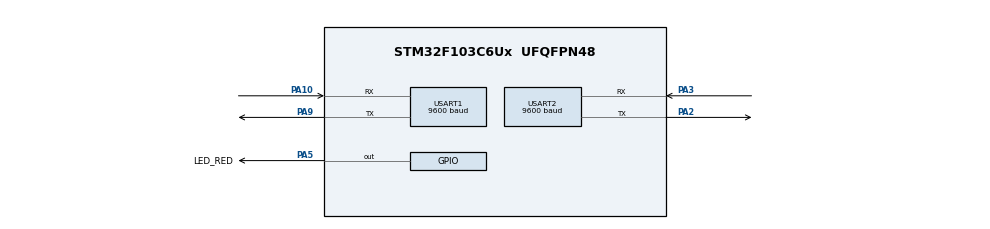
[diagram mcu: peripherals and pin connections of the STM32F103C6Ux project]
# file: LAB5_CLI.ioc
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Mcu.Family=STM32F1
Mcu.Name=STM32F103C6Ux
Mcu.Package=UFQFPN48
NVIC.PriorityGroup=NVIC_PRIORITYGROUP_4
NVIC.USART1_IRQn=true\:0\:0\:false\:false\:true\:true\:true
NVIC.USART2_IRQn=true\:0\:0\:false\:false\:true\:true\:true
PA10.Mode=Asynchronous
PA10.Signal=USART1_RX
PA2.Mode=Asynchronous
PA2.Signal=USART2_TX
PA3.Mode=Asynchronous
PA3.Signal=USART2_RX
PA5.GPIO_Label=LED_RED
PA5.Signal=GPIO_Output
PA9.Mode=Asynchronous
PA9.Signal=USART1_TX
ProjectManager.HeapSize=0x200
ProjectManager.StackSize=0x400
ProjectManager.TargetToolchain=STM32CubeIDE
RCC.APB1Freq_Value=8000000
RCC.APB2Freq_Value=8000000
TIM2.Period=9
TIM2.Prescaler=7999
USART1.BaudRate=9600
USART1.VirtualMode=VM_ASYNC
USART2.BaudRate=9600
USART2.VirtualMode=VM_ASYNC
VP_SYS_VS_ND.Mode=No_Debug
VP_TIM2_VS_ClockSourceINT.Mode=Internal
board=custom

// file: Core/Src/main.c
/* USER CODE BEGIN Header */
/**
  ******************************************************************************
  * @file           : main.c
  * @brief          : Main program body
  ******************************************************************************
  * @attention
  *
  * <h2><center>&copy; Copyright (c) 2026 STMicroelectronics.
  * All rights reserved.</center></h2>
  *
  * This software component is licensed by ST under BSD 3-Clause license,
  * the "License"; You may not use this file except in compliance with the
  * License. You may obtain a copy of the License at:
  *                        opensource.org/licenses/BSD-3-Clause
  *
  ******************************************************************************
  */
/* USER CODE END Header */
#include "main.h"

/* USER CODE BEGIN Includes */
#include <stdio.h>
#include <string.h>
/* USER CODE END Includes */

TIM_HandleTypeDef htim2;

UART_HandleTypeDef huart1;
UART_HandleTypeDef huart2;

/* USER CODE BEGIN PV */
uint8_t temp = 0;
/* USER CODE END PV */

void SystemClock_Config(void);
static void MX_GPIO_Init(void);
static void MX_USART2_UART_Init(void);
static void MX_USART1_UART_Init(void);
static void MX_TIM2_Init(void);

int main(void)
{

  /* MCU Configuration--------------------------------------------------------*/

  /* Reset of all peripherals, Initializes the Flash interface and the Systick. */
  HAL_Init();

  /* Configure the system clock */
  SystemClock_Config();

  /* Initialize all configured peripherals */
  MX_GPIO_Init();
  MX_USART2_UART_Init();
  MX_USART1_UART_Init();
  MX_TIM2_Init();
  /* USER CODE BEGIN 2 */
  HAL_UART_Receive_IT(&huart2, &temp, 1);
  Communication_Init();
  Communication_StartReceive();
  CLI_Init();
  /* USER CODE END 2 */

  /* Infinite loop */
  while (1)
  {

    /* USER CODE BEGIN 3 */
	  CLI_Process();
	  Communication_Process();
  }
  /* USER CODE END 3 */
}

void SystemClock_Config(void)
{
  RCC_OscInitTypeDef RCC_OscInitStruct = {0};
  RCC_ClkInitTypeDef RCC_ClkInitStruct = {0};

  /** Initializes the RCC Oscillators according to the specified parameters
  * in the RCC_OscInitTypeDef structure.
  */
  RCC_OscInitStruct.OscillatorType = RCC_OSCILLATORTYPE_HSI;
  RCC_OscInitStruct.HSIState = RCC_HSI_ON;
  RCC_OscInitStruct.HSICalibrationValue = RCC_HSICALIBRATION_DEFAULT;
  RCC_OscInitStruct.PLL.PLLState = RCC_PLL_NONE;
  if (HAL_RCC_OscConfig(&RCC_OscInitStruct) != HAL_OK)
  {
    Error_Handler();
  }
  /** Initializes the CPU, AHB and APB buses clocks
  */
  RCC_ClkInitStruct.ClockType = RCC_CLOCKTYPE_HCLK|RCC_CLOCKTYPE_SYSCLK
                              |RCC_CLOCKTYPE_PCLK1|RCC_CLOCKTYPE_PCLK2;
  RCC_ClkInitStruct.SYSCLKSource = RCC_SYSCLKSOURCE_HSI;
  RCC_ClkInitStruct.AHBCLKDivider = RCC_SYSCLK_DIV1;
  RCC_ClkInitStruct.APB1CLKDivider = RCC_HCLK_DIV1;
  RCC_ClkInitStruct.APB2CLKDivider = RCC_HCLK_DIV1;

  if (HAL_RCC_ClockConfig(&RCC_ClkInitStruct, FLASH_LATENCY_0) != HAL_OK)
  {
    Error_Handler();
  }
}

static void MX_TIM2_Init(void)
{

  TIM_ClockConfigTypeDef sClockSourceConfig = {0};
  TIM_MasterConfigTypeDef sMasterConfig = {0};

  htim2.Instance = TIM2;
  htim2.Init.Prescaler = 7999;
  htim2.Init.CounterMode = TIM_COUNTERMODE_UP;
  htim2.Init.Period = 9;
  htim2.Init.ClockDivision = TIM_CLOCKDIVISION_DIV1;
  htim2.Init.AutoReloadPreload = TIM_AUTORELOAD_PRELOAD_DISABLE;
  if (HAL_TIM_Base_Init(&htim2) != HAL_OK)
  {
    Error_Handler();
  }
  sClockSourceConfig.ClockSource = TIM_CLOCKSOURCE_INTERNAL;
  if (HAL_TIM_ConfigClockSource(&htim2, &sClockSourceConfig) != HAL_OK)
  {
    Error_Handler();
  }
  sMasterConfig.MasterOutputTrigger = TIM_TRGO_RESET;
  sMasterConfig.MasterSlaveMode = TIM_MASTERSLAVEMODE_DISABLE;
  if (HAL_TIMEx_MasterConfigSynchronization(&htim2, &sMasterConfig) != HAL_OK)
  {
    Error_Handler();
  }

}

static void MX_USART1_UART_Init(void)
{

  huart1.Instance = USART1;
  huart1.Init.BaudRate = 9600;
  huart1.Init.WordLength = UART_WORDLENGTH_8B;
  huart1.Init.StopBits = UART_STOPBITS_1;
  huart1.Init.Parity = UART_PARITY_NONE;
  huart1.Init.Mode = UART_MODE_TX_RX;
  huart1.Init.HwFlowCtl = UART_HWCONTROL_NONE;
  huart1.Init.OverSampling = UART_OVERSAMPLING_16;
  if (HAL_UART_Init(&huart1) != HAL_OK)
  {
    Error_Handler();
  }

}

static void MX_USART2_UART_Init(void)
{

  huart2.Instance = USART2;
  huart2.Init.BaudRate = 9600;
  huart2.Init.WordLength = UART_WORDLENGTH_8B;
  huart2.Init.StopBits = UART_STOPBITS_1;
  huart2.Init.Parity = UART_PARITY_NONE;
  huart2.Init.Mode = UART_MODE_TX_RX;
  huart2.Init.HwFlowCtl = UART_HWCONTROL_NONE;
  huart2.Init.OverSampling = UART_OVERSAMPLING_16;
  if (HAL_UART_Init(&huart2) != HAL_OK)
  {
    Error_Handler();
  }

}

static void MX_GPIO_Init(void)
{
  GPIO_InitTypeDef GPIO_InitStruct = {0};

  /* GPIO Ports Clock Enable */
  __HAL_RCC_GPIOA_CLK_ENABLE();

  /*Configure GPIO pin Output Level */
  HAL_GPIO_WritePin(LED_RED_GPIO_Port, LED_RED_Pin, GPIO_PIN_RESET);

  /*Configure GPIO pin : LED_RED_Pin */
  GPIO_InitStruct.Pin = LED_RED_Pin;
  GPIO_InitStruct.Mode = GPIO_MODE_OUTPUT_PP;
  GPIO_InitStruct.Pull = GPIO_NOPULL;
  GPIO_InitStruct.Speed = GPIO_SPEED_FREQ_LOW;
  HAL_GPIO_Init(LED_RED_GPIO_Port, &GPIO_InitStruct);

}

/* USER CODE BEGIN 4 */
void HAL_UART_TxCpltCallback(UART_HandleTypeDef *huart){
    if (huart->Instance == USART1){
        Communication_TxCallback();
    }
}
void HAL_UART_RxCpltCallback(UART_HandleTypeDef *huart){
	if (huart->Instance == USART2){
		CLI_ProcessByte(temp);
		HAL_UART_Transmit_IT(&huart2, &temp, 1);
		HAL_UART_Receive_IT(&huart2, &temp, 1);
	}
	if (huart->Instance == USART1){
		Communication_RxCallback();
	}
}
void HAL_UART_ErrorCallback(UART_HandleTypeDef *huart){
  if (huart->Instance == USART1){
    Communication_ErrorCallback();
  }
}
uint8_t countdown = 50;
void HAL_TIM_PeriodElapsedCallback(TIM_HandleTypeDef *htim){
	if (htim->Instance == TIM2){
		if (countdown > 0){
			countdown--;
			if (countdown <= 0) {
				HAL_GPIO_TogglePin(LED_RED_GPIO_Port, LED_RED_Pin);
				countdown = 50;
			}
		}
	}
}

/* USER CODE END 4 */

void Error_Handler(void)
{
  __disable_irq();
  while (1)
  {
  }
}

/************************ (C) COPYRIGHT STMicroelectronics *****END OF FILE****/
